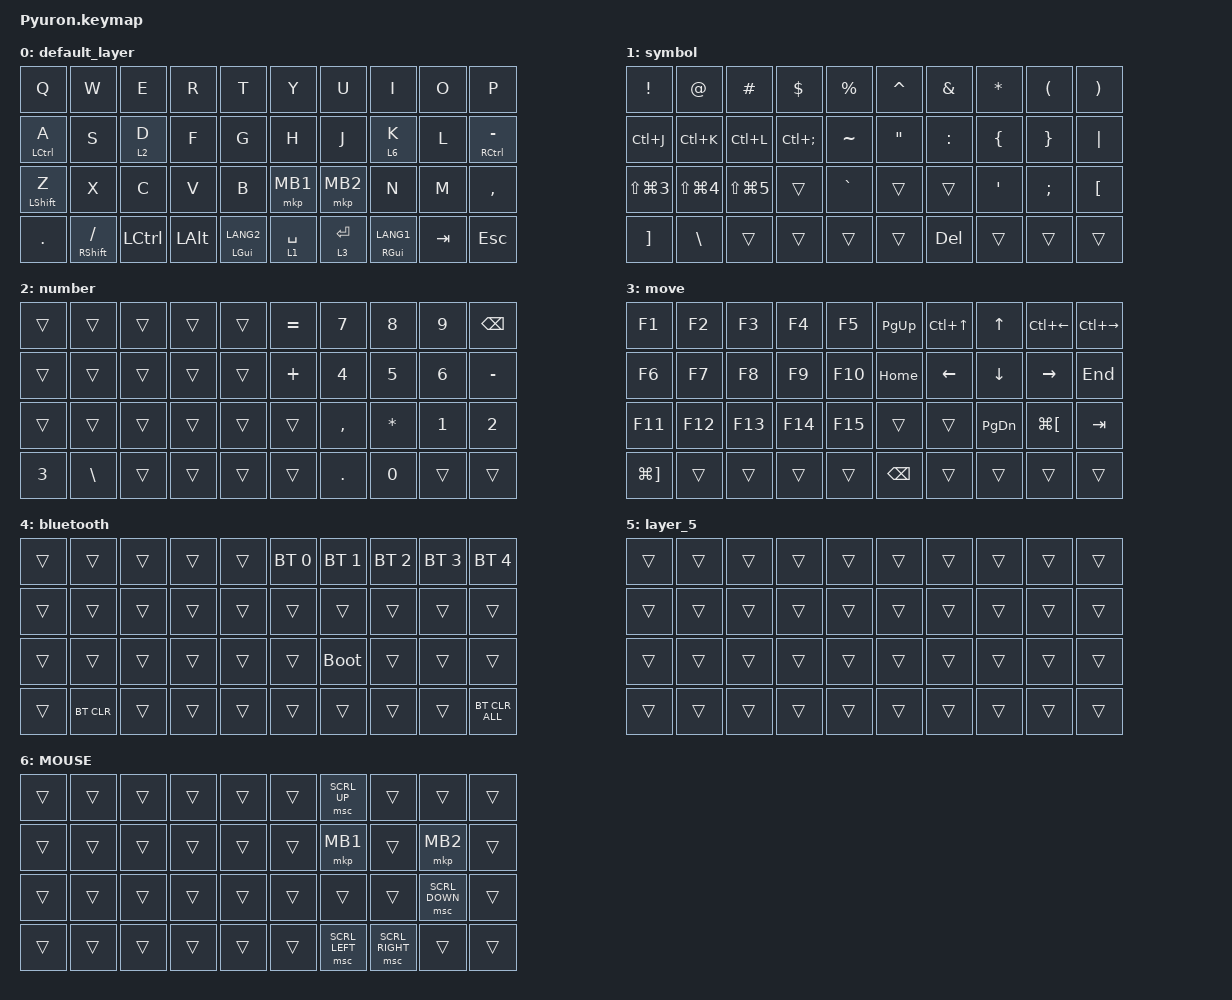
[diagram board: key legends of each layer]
#include <behaviors.dtsi>
#include <dt-bindings/zmk/bt.h>
#include <dt-bindings/zmk/keys.h>
#include <dt-bindings/zmk/pointing.h>

#define MOUSE 6

&mt {
    flavor = "balanced";
    quick-tap-ms = <0>;
};

/ {
    combos {
        compatible = "zmk,combos";

        l4 {
            bindings = <&mo 4>;
            key-positions = <36 37>;
        };
    };

    macros {
        to_layer_0: to_layer_0 {
            compatible = "zmk,behavior-macro-one-param";
            #binding-cells = <1>;
            bindings = <&to 0 &macro_param_1to1 &kp MACRO_PLACEHOLDER>;
            label = "TO_LAYER_0";
        };
    };

    lt_to_layer_0: lt_to_layer_0 {
        compatible = "zmk,behavior-hold-tap";
        label = "LAYER_TAP_TO_0";
        bindings = <&mo>, <&to_layer_0>;

        #binding-cells = <2>;
        tapping-term-ms = <200>;
    };
};

/ {
    behaviors {
    };

    keymap {
        compatible = "zmk,keymap";

        default_layer {
            bindings = <
&kp Q               &kp W                  &kp E             &kp R         &kp T               &kp Y        &kp U        &kp I                &kp O    &kp P
&mt LEFT_CONTROL A  &kp S                  &lt 2 D           &kp F         &kp G               &kp H        &kp J        &lt 6 K              &kp L    &mt RIGHT_CONTROL MINUS
&mt LEFT_SHIFT Z    &kp X                  &kp C             &kp V         &kp B               &mkp MB1     &mkp MB2     &kp N                &kp M    &kp COMMA
&kp DOT             &mt RIGHT_SHIFT SLASH  &kp LEFT_CONTROL  &kp LEFT_ALT  &mt LEFT_GUI LANG2  &lt 1 SPACE  &lt 3 ENTER  &mt RIGHT_GUI LANG1  &kp TAB  &kp ESC
            >;
        };

        symbol {
            bindings = <
&kp EXCLAMATION       &kp AT                &kp HASH              &kp DOLLAR         &kp PERCENT  &kp CARET          &kp AMPERSAND  &kp ASTERISK      &kp LEFT_PARENTHESIS  &kp RIGHT_PARENTHESIS
&kp LC(J)             &kp LC(K)             &kp LC(L)             &kp LC(SEMICOLON)  &kp TILDE    &kp DOUBLE_QUOTES  &kp COLON      &kp LEFT_BRACE    &kp RIGHT_BRACE       &kp PIPE
&kp LS(LG(NUMBER_3))  &kp LS(LG(NUMBER_4))  &kp LS(LG(NUMBER_5))  &trans             &kp GRAVE    &trans             &trans         &kp SINGLE_QUOTE  &kp SEMICOLON         &kp LEFT_BRACKET
&kp RIGHT_BRACKET     &kp BACKSLASH         &trans                &trans             &trans       &trans             &kp DEL        &trans            &trans                &trans
            >;
        };

        number {
            bindings = <
&trans  &trans         &trans  &trans  &trans  &kp EQUAL  &kp N7      &kp N8        &kp N9  &kp BACKSPACE
&trans  &trans         &trans  &trans  &trans  &kp PLUS   &kp N4      &kp N5        &kp N6  &kp MINUS
&trans  &trans         &trans  &trans  &trans  &trans     &kp COMMA   &kp ASTERISK  &kp N1  &kp N2
&kp N3  &kp BACKSLASH  &trans  &trans  &trans  &trans     &kp PERIOD  &kp N0        &trans  &trans
            >;
        };

        move {
            bindings = <
&kp F1                 &kp F2   &kp F3   &kp F4   &kp F5   &kp PAGE_UP    &kp LC(UP_ARROW)  &kp UP_ARROW   &kp LC(LEFT_ARROW)    &kp LC(RIGHT_ARROW)
&kp F6                 &kp F7   &kp F8   &kp F9   &kp F10  &kp HOME       &kp LEFT_ARROW    &kp DOWN       &kp RIGHT_ARROW       &kp END
&kp F11                &kp F12  &kp F13  &kp F14  &kp F15  &trans         &trans            &kp PAGE_DOWN  &kp LG(LEFT_BRACKET)  &kp TAB
&kp LG(RIGHT_BRACKET)  &trans   &trans   &trans   &trans   &kp BACKSPACE  &trans            &trans         &trans                &trans
            >;
        };

        bluetooth {
            bindings = <
&trans  &trans      &trans  &trans  &trans  &bt BT_SEL 0  &bt BT_SEL 1  &bt BT_SEL 2  &bt BT_SEL 3  &bt BT_SEL 4
&trans  &trans      &trans  &trans  &trans  &trans        &trans        &trans        &trans        &trans
&trans  &trans      &trans  &trans  &trans  &trans        &bootloader   &trans        &trans        &trans
&trans  &bt BT_CLR  &trans  &trans  &trans  &trans        &trans        &trans        &trans        &bt BT_CLR_ALL
            >;
        };

        layer_5 {
            bindings = <
&trans  &trans  &trans  &trans  &trans  &trans  &trans  &trans  &trans  &trans
&trans  &trans  &trans  &trans  &trans  &trans  &trans  &trans  &trans  &trans
&trans  &trans  &trans  &trans  &trans  &trans  &trans  &trans  &trans  &trans
&trans  &trans  &trans  &trans  &trans  &trans  &trans  &trans  &trans  &trans
            >;
        };

        MOUSE {
            bindings = <
&trans  &trans  &trans  &trans  &trans  &trans  &msc SCRL_UP    &trans           &trans          &trans
&trans  &trans  &trans  &trans  &trans  &trans  &mkp MB1        &trans           &mkp MB2        &trans
&trans  &trans  &trans  &trans  &trans  &trans  &trans          &trans           &msc SCRL_DOWN  &trans
&trans  &trans  &trans  &trans  &trans  &trans  &msc SCRL_LEFT  &msc SCRL_RIGHT  &trans          &trans
            >;
        };
    };
};
